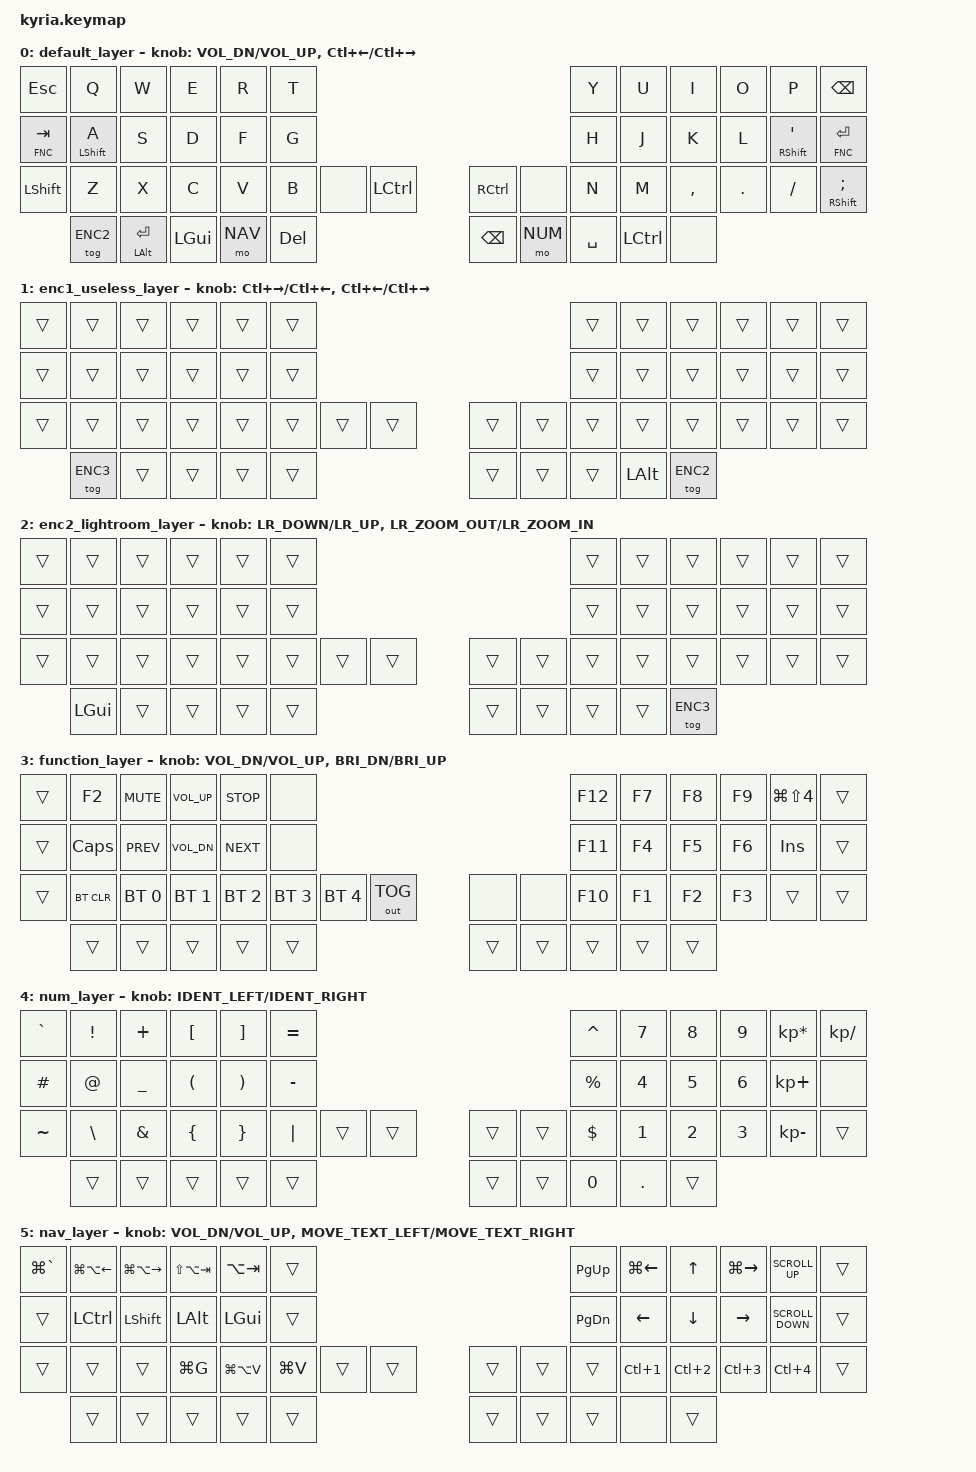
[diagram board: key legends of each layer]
#include <behaviors.dtsi>
#include <dt-bindings/zmk/keys.h>
#include <dt-bindings/zmk/bt.h>
#include <dt-bindings/zmk/outputs.h>

#define BASE 0
#define ENC2 1
#define ENC3 2
#define FNC  3
#define NUM  4
#define NAV  5
// #define UNI  6
// #define OSL  7
#define SAMAPP LG(GRAVE)
#define PTAB LG(LA(LEFT))
#define NTAB LG(LA(RIGHT))
#define NWIN LA(TAB)
#define PWIN LS(LA(TAB))
// #define XSLV LA(LC(V))
#define DESK1 LC(N1)
#define DESK2 LC(N2)
#define DESK3 LC(N3)
#define DESK4 LC(N4)
#define MHOME LG(LEFT)
#define MEND LG(RIGHT)
#define NXTWO LG(G)
#define PRTSC LG(LS(N4))
//paste from sublime history cmd option v
#define SUBL1 LG(LA(V))
#define PASTE LG(V)

#define LR_DOWN LA(DOWN)
#define LR_UP LA(UP)
#define LR_ZOOM_IN LC(LS(EQUAL))
#define LR_ZOOM_OUT LC(LS(MINUS))
#define IDENT_LEFT LG(LEFT_BRACKET)
#define IDENT_RIGHT LG(RIGHT_BRACKET)
#define MOVE_TEXT_LEFT LC(LA(K))
#define MOVE_TEXT_RIGHT LC(LA(L))

&left_encoder { resolution = <2>; };
&right_encoder { resolution = <2>; };

// &sk { release-after-ms = <1000>; };
// &sl { release-after-ms = <1000>; };

/ {

  // conditional_layers {
  //   compatible = "zmk,conditional-layers";
  //   tri_layer {
  //       if-layers = <4 5>;
  //       then-layer = <6>;
  //   };
  // };

  behaviors {
		hm: homerow_mods {
	    compatible = "zmk,behavior-hold-tap";
	    label = "homerow mods";
	    #binding-cells = <2>;
	    tapping_term_ms = <220>;
	    flavor = "balanced";
	    bindings = <&kp>, <&kp>;
	  };

	  // mx: layer_tap_osl {
		// 	compatible = "zmk,behavior-hold-tap";
		// 	label = "LAYER_TAP_OSL";
		// 	#binding-cells = <2>;
		// 	flavor = "hold-preferred";
		// 	tapping_term_ms = <200>;
		// 	bindings = <&mo>, <&sl>;
		// };
	};

  macros {
//    m_e_aig: m_e_aig {
//      label = "MAC_é";
//      compatible = "zmk,behavior-macro";
//      #binding-cells = <0>;
//      wait-ms = <30>;
//      tap-ms = <10>;
//      bindings
//        = <&macro_press &kp LALT>
//        , <&macro_tap &kp N0 &kp N0 &kp E &kp N9>
//        , <&macro_wait_time 10>
//        , <&macro_release &kp LALT>
//        ;
//    };
//
//    m_e_grv: m_e_grv {
//    	compatible = "zmk,behavior-macro";
//    	label = "MAC_è";
//    	#binding-cells = <0>;
//      wait-ms = <30>;
//      tap-ms = <10>;
//      bindings
//        = <&macro_press &kp LALT>
//        , <&macro_tap &kp N0 &kp N0 &kp E &kp N8>
//        , <&macro_wait_time 10>
//        , <&macro_release &kp LALT>
//        ;
//    };
//
//    m_e_crc: m_e_crc {
//    	compatible = "zmk,behavior-macro";
//    	label = "MAC_ê";
//    	#binding-cells = <0>;
//      wait-ms = <30>;
//      tap-ms = <10>;
//      bindings
//        = <&macro_press &kp LALT>
//        , <&macro_tap &kp N0 &kp N0 &kp E &kp A>
//        , <&macro_wait_time 10>
//        , <&macro_release &kp LALT>
//        ;
//    };
//
//    m_e_trm: m_e_trm {
//    	compatible = "zmk,behavior-macro";
//    	label = "MAC_ë";
//    	#binding-cells = <0>;
//      wait-ms = <30>;
//      tap-ms = <10>;
//      bindings
//        = <&macro_press &kp LALT>
//        , <&macro_tap &kp N0 &kp N0 &kp E &kp B>
//        , <&macro_wait_time 10>
//        , <&macro_release &kp LALT>
//        ;
//    };
//
//    m_a_grv: m_a_grv {
//    	compatible = "zmk,behavior-macro";
//    	label = "MAC_à";
//    	#binding-cells = <0>;
//      wait-ms = <30>;
//      tap-ms = <10>;
//      bindings
//        = <&macro_press &kp LALT>
//        , <&macro_tap &kp N0 &kp N0 &kp E &kp N0>
//        , <&macro_wait_time 10>
//        , <&macro_release &kp LALT>
//        ;
//    };
//
//    m_a_crc: m_a_crc {
//    	compatible = "zmk,behavior-macro";
//    	label = "MAC_â";
//    	#binding-cells = <0>;
//      wait-ms = <30>;
//      tap-ms = <10>;
//      bindings
//        = <&macro_press &kp LALT>
//        , <&macro_tap &kp N0 &kp N0 &kp E &kp N2>
//        , <&macro_wait_time 10>
//        , <&macro_release &kp LALT>
//        ;
//    };
//
//    m_c_cdl: m_c_cdl {
//    	compatible = "zmk,behavior-macro";
//    	label = "MAC_ç";
//    	#binding-cells = <0>;
//      wait-ms = <30>;
//      tap-ms = <10>;
//      bindings
//        = <&macro_press &kp LALT>
//        , <&macro_tap &kp N0 &kp N0 &kp E &kp N7>
//        , <&macro_wait_time 10>
//        , <&macro_release &kp LALT>
//        ;
//    };
//
//    m_c_eur: m_c_eur {
//    	compatible = "zmk,behavior-macro";
//    	label = "MAC_€";
//    	#binding-cells = <0>;
//      wait-ms = <30>;
//      tap-ms = <10>;
//      bindings
//        = <&macro_press &kp LALT>
//        , <&macro_tap &kp N2 &kp N0 &kp A &kp C>
//        , <&macro_wait_time 10>
//        , <&macro_release &kp LALT>
//        ;
//    };
//
//    m_c_bht: m_c_bht {
//    	compatible = "zmk,behavior-macro";
//    	label = "MAC_฿";
//    	#binding-cells = <0>;
//      wait-ms = <30>;
//      tap-ms = <10>;
//      bindings
//        = <&macro_press &kp LALT>
//        , <&macro_tap &kp N0 &kp E &kp N3 &kp F>
//        , <&macro_wait_time 10>
//        , <&macro_release &kp LALT>
//        ;
//    };
//
//    m_u_grv: m_u_grv {
//    	compatible = "zmk,behavior-macro";
//    	label = "MAC_ù";
//    	#binding-cells = <0>;
//      wait-ms = <30>;
//      tap-ms = <10>;
//      bindings
//        = <&macro_press &kp LALT>
//        , <&macro_tap &kp N0 &kp N0 &kp F &kp N9>
//        , <&macro_wait_time 10>
//        , <&macro_release &kp LALT>
//        ;
//    };
//
//    m_o_crc: m_o_crc {
//    	compatible = "zmk,behavior-macro";
//    	label = "MAC_ô";
//    	#binding-cells = <0>;
//      wait-ms = <30>;
//      tap-ms = <10>;
//      bindings
//        = <&macro_press &kp LALT>
//        , <&macro_tap &kp N0 &kp N0 &kp F &kp N4>
//        , <&macro_wait_time 10>
//        , <&macro_release &kp LALT>
//        ;
//    };
//
//    m_deg: m_deg {
//    	compatible = "zmk,behavior-macro";
//    	label = "MAC_°";
//    	#binding-cells = <0>;
//      wait-ms = <30>;
//      tap-ms = <10>;
//      bindings
//        = <&macro_press &kp LALT>
//        , <&macro_tap &kp N0 &kp N0 &kp B &kp N0>
//        , <&macro_wait_time 10>
//        , <&macro_release &kp LALT>
//        ;
//    };
//
//    m_mu: m_mu {
//    	compatible = "zmk,behavior-macro";
//    	label = "MAC_mu";
//    	#binding-cells = <0>;
//      wait-ms = <30>;
//      tap-ms = <10>;
//      bindings
//        = <&macro_press &kp LALT>
//        , <&macro_tap &kp N0 &kp N0 &kp B &kp N5>
//        , <&macro_wait_time 10>
//        , <&macro_release &kp LALT>
//        ;
//    };
//
//		l_e_aig: l_e_aig {
//			compatible = "zmk,behavior-macro";
//			label = "LINUX_é";
//			#binding-cells = <0>;
//			sleep = <1>;
//			bindings = <&kp LC(LS(U))>, <&kp N0>, <&kp N0>, <&kp E>, <&kp N9>, <&kp RET>;
//		};
//
//		l_e_grv: l_e_grv {
//			compatible = "zmk,behavior-macro";
//			label = "LINUX_è";
//			#binding-cells = <0>;
//			sleep = <1>;
//			bindings = <&kp LC(LS(U))>, <&kp N0>, <&kp N0>, <&kp E>, <&kp N8>, <&kp RET>;
//		};
//
//		l_e_crc: l_e_crc {
//			compatible = "zmk,behavior-macro";
//			label = "LINUX_ê";
//			#binding-cells = <0>;
//			sleep = <1>;
//			bindings = <&kp LC(LS(U))>, <&kp N0>, <&kp N0>, <&kp E>, <&kp A>, <&kp RET>;
//		};
//
//		l_e_trm: l_e_trm {
//			compatible = "zmk,behavior-macro";
//			label = "LINUX_ë";
//			#binding-cells = <0>;
//			sleep = <1>;
//			bindings = <&kp LC(LS(U))>, <&kp N0>, <&kp N0>, <&kp E>, <&kp B>, <&kp RET>;
//		};
//
//		l_a_grv: l_a_grv {
//			compatible = "zmk,behavior-macro";
//			label = "LINUX_à";
//			#binding-cells = <0>;
//			sleep = <1>;
//			bindings = <&kp LC(LS(U))>, <&kp N0>, <&kp N0>, <&kp E>, <&kp N0>, <&kp RET>;
//		};
//
//		l_a_crc: l_a_crc {
//			compatible = "zmk,behavior-macro";
//			label = "LINUX_â";
//			#binding-cells = <0>;
//			sleep = <1>;
//			bindings = <&kp LC(LS(U))>, <&kp N0>, <&kp N0>, <&kp E>, <&kp N2>, <&kp RET>;
//		};
//
//		l_c_cdl: l_c_cdl {
//			compatible = "zmk,behavior-macro";
//			label = "LINUX_ç";
//			#binding-cells = <0>;
//			sleep = <1>;
//			bindings = <&kp LC(LS(U))>, <&kp N0>, <&kp N0>, <&kp E>, <&kp N7>, <&kp RET>;
//		};
//
//		l_c_eur: l_c_eur {
//			compatible = "zmk,behavior-macro";
//			label = "LINUX_€";
//			#binding-cells = <0>;
//			sleep = <1>;
//			bindings = <&kp LC(LS(U))>, <&kp N2>, <&kp N0>, <&kp A>, <&kp C>, <&kp RET>;
//		};
//
//		l_c_bht: l_c_bht {
//			compatible = "zmk,behavior-macro";
//			label = "LINUX_฿";
//			#binding-cells = <0>;
//			sleep = <1>;
//			bindings = <&kp LC(LS(U))>, <&kp N0>, <&kp E>, <&kp N3>, <&kp F>, <&kp RET>;
//		};
//
//		l_u_grv: l_u_grv {
//			compatible = "zmk,behavior-macro";
//			label = "LINUX_ù";
//			#binding-cells = <0>;
//			sleep = <1>;
//			bindings = <&kp LC(LS(U))>, <&kp N0>, <&kp N0>, <&kp F>, <&kp N9>, <&kp RET>;
//		};
//
//		l_o_crc: l_o_crc {
//			compatible = "zmk,behavior-macro";
//			label = "LINUX_ô";
//			#binding-cells = <0>;
//			sleep = <1>;
//			bindings = <&kp LC(LS(U))>, <&kp N0>, <&kp N0>, <&kp F>, <&kp N4>, <&kp RET>;
//		};
//
//		l_deg: l_deg {
//			compatible = "zmk,behavior-macro";
//			label = "LINUX_°";
//			#binding-cells = <0>;
//			sleep = <1>;
//			bindings = <&kp LC(LS(U))>, <&kp N0>, <&kp N0>, <&kp B>, <&kp N0>, <&kp RET>;
//		};
//
//		l_mu: l_mu {
//			compatible = "zmk,behavior-macro";
//			label = "LINUX_mu";
//			#binding-cells = <0>;
//			sleep = <1>;
//			bindings = <&kp LC(LS(U))>, <&kp N0>, <&kp N0>, <&kp B>, <&kp N5>, <&kp RET>;
//		};
//
//		w_e_aig: w_e_aig {
//			compatible = "zmk,behavior-macro";
//			label = "WIN_é";
//			#binding-cells = <0>;
//			sleep = <1>;
//			bindings = <&kp RA(U)>, <&kp N0>, <&kp N0>, <&kp E>, <&kp N9>, <&kp RET>;
//		};
//
//		w_e_grv: w_e_grv {
//			compatible = "zmk,behavior-macro";
//			label = "WIN_è";
//			#binding-cells = <0>;
//			sleep = <1>;
//			bindings = <&kp RA(U)>, <&kp N0>, <&kp N0>, <&kp E>, <&kp N8>, <&kp RET>;
//		};
//
//		w_e_crc: w_e_crc {
//			compatible = "zmk,behavior-macro";
//			label = "WIN_ê";
//			#binding-cells = <0>;
//			sleep = <1>;
//			bindings = <&kp RA(U)>, <&kp N0>, <&kp N0>, <&kp E>, <&kp A>, <&kp RET>;
//		};
//
//		w_e_trm: w_e_trm {
//			compatible = "zmk,behavior-macro";
//			label = "WIN_ë";
//			#binding-cells = <0>;
//			sleep = <1>;
//			bindings = <&kp RA(U)>, <&kp N0>, <&kp N0>, <&kp E>, <&kp B>, <&kp RET>;
//		};
//
//		w_a_grv: w_a_grv {
//			compatible = "zmk,behavior-macro";
//			label = "WIN_à";
//			#binding-cells = <0>;
//			sleep = <1>;
//			bindings = <&kp RA(U)>, <&kp N0>, <&kp N0>, <&kp E>, <&kp N0>, <&kp RET>;
//		};
//
//		w_a_crc: w_a_crc {
//			compatible = "zmk,behavior-macro";
//			label = "WIN_â";
//			#binding-cells = <0>;
//			sleep = <1>;
//			bindings = <&kp RA(U)>, <&kp N0>, <&kp N0>, <&kp E>, <&kp N0>, <&kp RET>;
//		};
//
//		w_c_cdl: w_c_cdl {
//			compatible = "zmk,behavior-macro";
//			label = "WIN_ç";
//			#binding-cells = <0>;
//			sleep = <1>;
//			bindings = <&kp RA(U)>, <&kp N0>, <&kp N0>, <&kp E>, <&kp N7>, <&kp RET>;
//		};
//
//		w_c_eur: w_c_eur {
//			compatible = "zmk,behavior-macro";
//			label = "WIN_€";
//			#binding-cells = <0>;
//			sleep = <1>;
//			bindings = <&kp RA(U)>, <&kp N2>, <&kp N0>, <&kp A>, <&kp C>, <&kp RET>;
//		};
//
//		w_c_bht: w_c_bht {
//			compatible = "zmk,behavior-macro";
//			label = "WIN_฿";
//			#binding-cells = <0>;
//			sleep = <1>;
//			bindings = <&kp RA(U)>, <&kp N0>, <&kp E>, <&kp N3>, <&kp F>, <&kp RET>;
//		};
//
//		w_u_grv: w_u_grv {
//			compatible = "zmk,behavior-macro";
//			label = "WIN_ù";
//			#binding-cells = <0>;
//			sleep = <1>;
//			bindings = <&kp RA(U)>, <&kp N0>, <&kp N0>, <&kp F>, <&kp N9>, <&kp RET>;
//		};
//
//		w_o_crc: w_o_crc {
//			compatible = "zmk,behavior-macro";
//			label = "WIN_ô";
//			#binding-cells = <0>;
//			sleep = <1>;
//			bindings = <&kp RA(U)>, <&kp N0>, <&kp N0>, <&kp F>, <&kp N4>, <&kp RET>;
//		};
//
//		w_mu: w_mu {
//			compatible = "zmk,behavior-macro";
//			label = "WIN_mu";
//			#binding-cells = <0>;
//			sleep = <1>;
//			bindings = <&kp RA(U)>, <&kp N0>, <&kp N0>, <&kp B>, <&kp N5>, <&kp RET>;
//		};
//
//		w_deg: w_deg {
//			compatible = "zmk,behavior-macro";
//			label = "WIN_°";
//			#binding-cells = <0>;
//			sleep = <1>;
//			bindings = <&kp RA(U)>, <&kp N0>, <&kp N0>, <&kp B>, <&kp N0>, <&kp RET>;
//		};
  };

	keymap {
		compatible = "zmk,keymap";

		default_layer {
// ---------------------------------------------------------------------------------------------------------------------------------
// |  ESC  |  Q  |  W  |  E   |  R   |  T   |                                          |  Y   |  U    |  I    |  O   |   P   | bksp |
// | TAB/FN|  A  |  S  |  D   |  F   |  G   |                                          |  H   |  J    |  K    |  L   |   '   |ent/fn|
// | SHIFT |  Z  |  X  |  C   |  V   |  B   | ---     |  ctrl   |  |   ctrl  |  blank  |  N   |  M    |  ,    |  .   |   /   |shft/;|
//                     | ENC  |Opt/En| Cmd  |  Nav    |   del   |  |   bksp  |  num    | spc  | Ctl   | ENC2  |
// encoder : volume up/down //// ctrl left/ ctrl right
			bindings = <
	&kp ESC     &kp Q       &kp W &kp E &kp R &kp T                                            &kp Y &kp U  &kp I     &kp O   &kp P         &kp BSPC
	&lt FNC TAB &hm LSHFT A &kp S &kp D &kp F &kp G                                            &kp H &kp J  &kp K     &kp L   &hm RSHFT SQT &lt FNC RET
	&kp LSHFT   &kp Z       &kp X &kp C &kp V &kp B &none   &kp LCTRL         &kp RCTRL &none  &kp N &kp M  &kp COMMA &kp DOT &kp FSLH      &mt RSHFT SEMI
	              &tog ENC2 &mt LALT RET  &kp LGUI &mo NAV &kp DEL            &kp BKSP &mo NUM &kp SPC &kp LCTRL &none
			>;

			sensor-bindings = <&inc_dec_cp C_VOL_DN C_VOL_UP &inc_dec_kp LC(LEFT) LC(RIGHT)>;
		};

		enc1_useless_layer {
			bindings = <
	&trans &trans &trans &trans &trans &trans                              &trans &trans &trans &trans &trans &trans
	&trans &trans &trans &trans &trans &trans                              &trans &trans &trans &trans &trans &trans
	&trans &trans &trans &trans &trans &trans &trans &trans  &trans &trans &trans &trans &trans &trans &trans &trans
	                       &tog ENC3  &trans   &trans        &trans &trans  &trans &trans    &trans    &kp LALT     &tog ENC2
			>;
			// encoder : tab / shift tab |||| ctrl left/ ctrl right
			sensor-bindings = <&inc_dec_kp LC(RIGHT) LC(LEFT) &inc_dec_kp LC(LEFT) LC(RIGHT)>;
		};

		enc2_lightroom_layer {
			bindings = <
	&trans &trans &trans &trans &trans &trans                              &trans &trans &trans &trans &trans &trans
	&trans &trans &trans &trans &trans &trans                              &trans &trans &trans &trans &trans &trans
	&trans &trans &trans &trans &trans &trans &trans &trans  &trans &trans &trans &trans &trans &trans &trans &trans
	                       &kp LGUI  &trans   &trans        &trans &trans  &trans &trans    &trans    &trans     &tog ENC3
			>;
			// encoder lightroom cursor |||| lightroom zoom in and out
			sensor-bindings = <&inc_dec_kp LR_DOWN LR_UP &inc_dec_cp LR_ZOOM_OUT LR_ZOOM_IN>;
		};

		function_layer {
// ---------------------------------------------------------------------------------------------------------------------------------
// | none  |  F2 | mute| V+   | stp  |   @  |                                       | F12  |  F7   |  F8   |  F9  | Print| none |
// | none  | caps| Prev| V-   | Next |   @p |                                       | F11  |  F4   |  F5   |  F6  | Ins  | none |
// | none  | /Ble| Ble0| Ble1 | Ble2 | Ble3 |  Ble4  |  ---    |  |   ---   |  ---  | F10  |  F1   |  F2   |  F3  | ---  | none |
//                     | ---  | ---  | ---  |  ---   |  ---    |  |   ---   |  ---  | ---  | ---   | ---   |
// encoder : volume up/down //// brightness up/down

			bindings = <
	&trans &kp F2     &kp C_MUTE   &kp C_VOL_UP &kp C_STOP   &none                                                &kp F12 &kp F7 &kp F8 &kp F9 &kp PRTSC &trans
	&trans &kp CAPS   &kp C_PREV   &kp C_VOL_DN &kp C_NEXT   &none                                                &kp F11 &kp F4 &kp F5 &kp F6 &kp INS  &trans
	&trans &bt BT_CLR &bt BT_SEL 0 &bt BT_SEL 1 &bt BT_SEL 2 &bt BT_SEL 3 &bt BT_SEL 4 &out OUT_TOG  &none  &none &kp F10 &kp F1 &kp F2 &kp F3 &trans   &trans
	                         &trans        &trans        &trans           &trans       &trans        &trans &trans &trans &trans &trans
			>;

			sensor-bindings = <&inc_dec_cp C_VOL_DN C_VOL_UP &inc_dec_cp C_BRI_DN C_BRI_UP>;
		};

		num_layer {
// ---------------------------------------------------------------------------------------------------------------------------------
// | `     |  !  |  +  |  [   |  ]   |  =   |                                          |  %   |  7    |  8    |  9   |   *   | /    |
// | #     |  @  |  _  |  (   |  )   |  -   |                                          |  $   |  4    |  5    |  6   |   +   | ---  |
// | ~     |  \  |  &  |  {   |  }   |  |   |   ---   |  ---    |  |   ---   |  ---    |  ^   |  1    |  2    |  3   |   -   | ---  |
//                     | ENC  | ---  | ---  |   ---   |  ---    |  |   ---   |  ---    |  0   |  .    | ---   |
// encoder :  identation left right || hard to reach

			bindings = <
	&kp GRAVE &kp EXCL &kp PLUS  &kp LBKT &kp RBKT &kp EQUAL                             &kp CARET &kp N7 &kp N8 &kp N9 &kp KP_MULTIPLY &kp KP_DIVIDE
	&kp HASH  &kp AT   &kp UNDER &kp LPAR &kp RPAR &kp MINUS                             &kp PRCNT &kp N4 &kp N5 &kp N6 &kp KP_PLUS &none
	&kp TILDE &kp BSLH &kp AMPS  &kp LBRC &kp RBRC &kp PIPE &trans &trans  &trans &trans &kp DLLR  &kp N1 &kp N2 &kp N3 &kp KP_MINUS &trans
	                       &trans  &trans   &trans          &trans &trans  &trans &trans    &kp N0  &kp DOT    &trans
			>;

			sensor-bindings = <&inc_dec_kp IDENT_LEFT IDENT_RIGHT>;
		};

		nav_layer {
// ---------------------------------------------------------------------------------------------------------------------------------
// | ---  | Tab-| Tab+| win+ | win- | ---  |                                          | Pgup | Home |  Up   | End  | ScrUp | ---  |
// | ---  | Ctrl| Shft| alt  | cmd  | ---  |                                          | Pgdw | Left |  Down | Right| ScrDn | ---  |
// | ---  | --- |---  | nextw|subl1 | paste|   ---   |  ---    |  |   ---   |  ---    |      | desk1| desk2 | desk3| desk4 |---   |
//                    | ENC  | ---  | ---  |   ---   |  ---    |  |   ---   |  ---    | ---  | ---  | ---   |
// encoder :  hard to reach || move text left right

			bindings = <
	&kp SAMAPP &kp PTAB &kp NTAB   &kp PWIN  &kp NWIN  &trans                                  &kp PG_UP &kp MHOME &kp UP   &kp MEND   &kp K_SCROLL_UP &trans
	&trans     &kp LCTRL &kp LSHFT &kp LALT  &kp LGUI  &trans                                  &kp PG_DN &kp LEFT &kp DOWN &kp RIGHT &kp K_SCROLL_DOWN &trans
	&trans     &trans   &trans     &kp NXTWO &kp SUBL1 &kp PASTE &trans &trans  &trans &trans  &trans   &kp DESK1 &kp DESK2 &kp DESK3 &kp DESK4 &trans
	                       &trans  &trans   &trans        &trans &trans  &trans &trans    &trans    &none     &trans
			>;

			sensor-bindings = <&inc_dec_cp C_VOL_DN C_VOL_UP &inc_dec_kp MOVE_TEXT_LEFT MOVE_TEXT_RIGHT>;
		};

// ---------------------------------------------------------------------------------------------------------------------------------
// | *** |  â  |  é  |  è  |  €  | *** |                           | *** |  ù  | *** |  ô  |  °  | *** |
// | *** |  à  |  ê  |  ë  | *** | *** |                           | *** | *** | *** | *** | *** | *** |
// | *** | *** | *** |  ç  | *** |  ฿  | ***  | *** |  | *** | *** | *** |  µ  | *** | *** | *** | *** |
//                   | *** | *** | *** | ***  | *** |  | *** | *** | *** | *** | *** |
//		unicode_layer_linux {
//			bindings = <
//	&none &l_a_crc &l_e_aig &l_e_grv &l_c_eur &none                             &kp Y &l_u_grv &none &l_o_crc &l_deg &none
//	&none &l_a_grv &l_e_crc &l_e_trm &none    &none                             &none &none    &none &none    &none &none
//	&none &none    &none    &l_c_cdl &none    &l_c_bht &none &none  &none &none &none &l_mu    &none &none    &none &none
//	                       &none  &none   &none        &none &none  &none &none    &none    &none     &none
//			>;
//
//		};
//		unicode_layer_windows {
//			bindings = <
//	&none &w_a_crc &w_e_aig &w_e_grv &w_c_eur &none                             &kp Y &w_u_grv &none &w_o_crc &w_deg &none
//	&none &w_a_grv &w_e_crc &w_e_trm &none    &none                             &none &none    &none &none    &none &none
//	&none &none    &none    &w_c_cdl &none    &w_c_bht &none &none  &none &none &none &w_mu    &none &none    &none &none
//	                       &none  &none   &none        &none &none  &none &none    &none    &none     &none
//			>;
//
//		};
//
//		unicode_layer_mac {
//			bindings = <
//	&none &m_a_crc &m_e_aig &m_e_grv &m_c_eur &none                             &none &m_u_grv &none &m_o_crc &m_deg &none
//	&none &m_a_grv &m_e_crc &m_e_trm &none    &none                             &none &none    &none &none    &none &none
//	&none &none    &none    &m_c_cdl &none    &m_c_bht &none &none  &none &none &none &m_mu    &none &none    &none &none
//	                       &none  &none   &none        &none &none  &none &none    &none    &none     &none
//			>;
//
//		};

	// 	osl_layer {
	// 		bindings = <
	// &trans &trans   &trans    &trans   &trans    &trans                              &trans &trans &trans &trans &trans &trans
	// &trans &sk LGUI &sk LSHFT &sk LALT &sk LCTRL &sk K_APP                           &trans &trans &trans &trans &trans &trans
	// &trans &trans   &trans    &trans   &trans    &trans &trans &trans  &trans &trans &trans &trans &trans &trans &trans &trans
	//                        &trans  &trans   &trans        &trans &trans  &trans &trans    &trans    &trans     &trans
	// 		>;
	// 	};
	};
};
